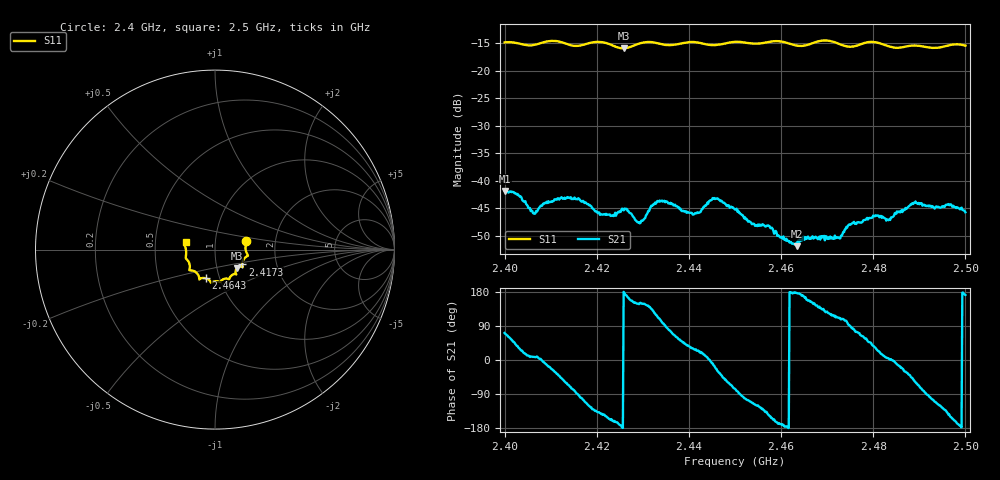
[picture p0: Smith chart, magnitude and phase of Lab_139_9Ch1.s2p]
# Hz S RI R 50
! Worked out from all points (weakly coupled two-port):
!   601 points, 2.4 GHz to 2.5 GHz, reference 50 ohm
!   highest |S21| = -41.86 dB at 2.4 GHz (marker M1); lowest = -51.9 dB at 2.4635 GHz (marker M2)
!   lowest |S11| = -15.9 dB at 2.4258 GHz (marker M3), VSWR 1.38, Z = 62.2 - j13.3 ohm
!   |S11| at or under -10 dB: start of sweep to end of sweep
!   S12 and S22 are empty: the file has one direction only
!   S11 on the Smith chart (normalised r, x): 2.4 GHz: 1.41, +0.14; 2.4173 GHz: 1.34, -0.23; 2.4643 GHz: 0.86, -0.28; 2.5 GHz: 0.72, +0.06
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2.4e9  0.174 0.0492  0.00259 0.00765  0 0  0 0
2.403167e9  0.1734 0.0327  0.00627 0.00371  0 0  0 0
2.406167e9  0.1706 -0.0012  0.00502 0.000721  0 0  0 0
2.412e9  0.1797 -0.0363  0.00495 -0.00471  0 0  0 0
2.416667e9  0.1529 -0.0749  -0.00112 -0.00634  0 0  0 0
2.417333e9  0.1523 -0.0824  -0.00205 -0.00591  0 0  0 0
2.421167e9  0.1541 -0.0962  -0.00388 -0.003  0 0  0 0
2.425833e9  0.1213 -0.1039  -0.00537 1.45e-05  0 0  0 0
2.429333e9  0.1163 -0.1336  -0.00354 0.00205  0 0  0 0
2.433333e9  0.1126 -0.1364  -0.00235 0.00607  0 0  0 0
2.441167e9  0.0777 -0.1646  0.00439 0.0023  0 0  0 0
2.445667e9  0.0495 -0.1635  0.00642 -0.00224  0 0  0 0
2.45e9  0.0295 -0.1807  0.0013 -0.0053  0 0  0 0
2.4635e9  -0.041 -0.1636  -0.00253 0.000151  0 0  0 0
2.464333e9  -0.0501 -0.1602  -0.00288 0.000383  0 0  0 0
2.466667e9  -0.0762 -0.1596  -0.00267 0.00141  0 0  0 0
2.472667e9  -0.0896 -0.1501  -0.00104 0.00281  0 0  0 0
2.475167e9  -0.1083 -0.1248  0.000145 0.00402  0 0  0 0
2.4805e9  -0.1427 -0.112  0.0041 0.00258  0 0  0 0
2.483333e9  -0.1405 -0.0896  0.00436 0.000326  0 0  0 0
2.489e9  -0.1628 -0.0465  0.00348 -0.00527  0 0  0 0
2.5e9  -0.1638 0.0415  -0.0051 0.000772  0 0  0 0
